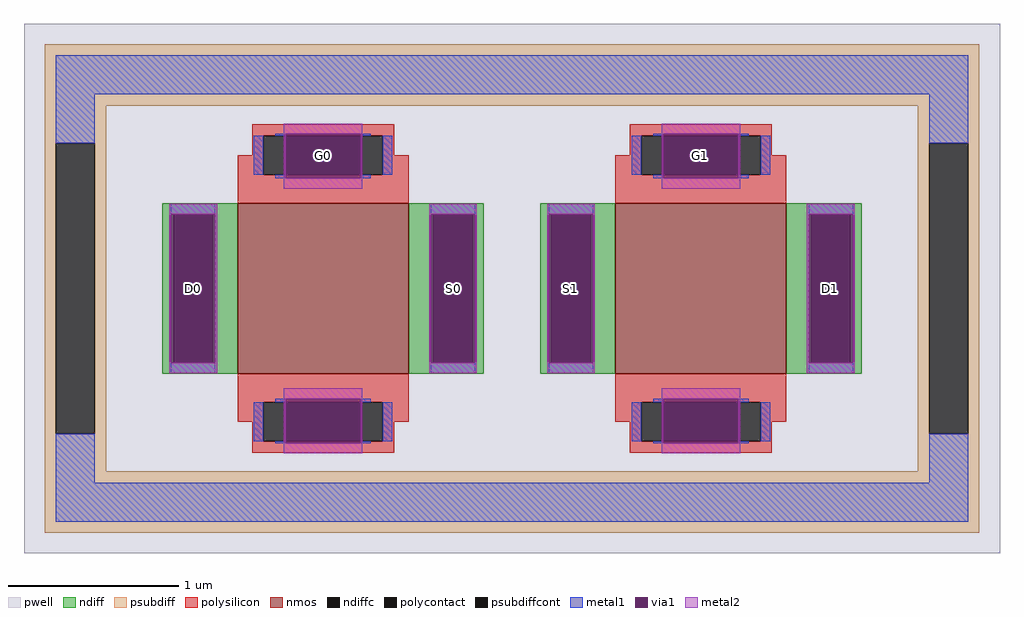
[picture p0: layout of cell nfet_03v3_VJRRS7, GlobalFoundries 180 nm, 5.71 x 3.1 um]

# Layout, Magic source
magic
tech gf180mcuD
magscale 1 10
<< pwell >>
rect -571 -310 571 310
<< nmos >>
rect -321 -100 -121 100
rect 121 -100 321 100
<< ndiff >>
rect -409 87 -321 100
rect -409 -87 -396 87
rect -350 -87 -321 87
rect -409 -100 -321 -87
rect -121 87 -33 100
rect -121 -87 -92 87
rect -46 -87 -33 87
rect -121 -100 -33 -87
rect 33 87 121 100
rect 33 -87 46 87
rect 92 -87 121 87
rect 33 -100 121 -87
rect 321 87 409 100
rect 321 -87 350 87
rect 396 -87 409 87
rect 321 -100 409 -87
<< ndiffc >>
rect -396 -87 -350 87
rect -92 -87 -46 87
rect 46 -87 92 87
rect 350 -87 396 87
<< psubdiff >>
rect -547 214 547 286
rect -547 170 -475 214
rect -547 -170 -534 170
rect -488 -170 -475 170
rect 475 170 547 214
rect -547 -214 -475 -170
rect 475 -170 488 170
rect 534 -170 547 170
rect 475 -214 547 -170
rect -547 -286 547 -214
<< psubdiffcont >>
rect -534 -170 -488 170
rect 488 -170 534 170
<< polysilicon >>
rect -304 179 -138 192
rect -304 156 -291 179
rect -321 133 -291 156
rect -151 156 -138 179
rect 138 179 304 192
rect 138 156 151 179
rect -151 133 -121 156
rect -321 100 -121 133
rect 121 133 151 156
rect 291 156 304 179
rect 291 133 321 156
rect 121 100 321 133
rect -321 -133 -121 -100
rect -321 -156 -291 -133
rect -304 -179 -291 -156
rect -151 -156 -121 -133
rect 121 -133 321 -100
rect 121 -156 151 -133
rect -151 -179 -138 -156
rect -304 -192 -138 -179
rect 138 -179 151 -156
rect 291 -156 321 -133
rect 291 -179 304 -156
rect 138 -192 304 -179
<< polycontact >>
rect -291 133 -151 179
rect 151 133 291 179
rect -291 -179 -151 -133
rect 151 -179 291 -133
<< metal1 >>
rect -534 227 534 273
rect -534 170 -488 227
rect -277 179 -265 181
rect -177 179 -165 181
rect 165 179 177 181
rect 265 179 277 181
rect -302 133 -291 179
rect -151 133 -140 179
rect 140 133 151 179
rect 291 133 302 179
rect 488 170 534 227
rect -277 129 -265 133
rect -177 129 -165 133
rect 165 129 177 133
rect 265 129 277 133
rect -399 87 -347 99
rect -399 -99 -347 -87
rect -95 87 -43 99
rect -95 -99 -43 -87
rect 43 87 95 99
rect 43 -99 95 -87
rect 347 87 399 99
rect 347 -99 399 -87
rect -277 -133 -265 -129
rect -177 -133 -165 -129
rect 165 -133 177 -129
rect 265 -133 277 -129
rect -534 -227 -488 -170
rect -302 -179 -291 -133
rect -151 -179 -140 -133
rect 140 -179 151 -133
rect 291 -179 302 -133
rect -277 -181 -265 -179
rect -177 -181 -165 -179
rect 165 -181 177 -179
rect 265 -181 277 -179
rect 488 -227 534 -170
rect -534 -273 534 -227
<< via1 >>
rect -265 179 -177 181
rect 177 179 265 181
rect -265 133 -177 179
rect 177 133 265 179
rect -265 129 -177 133
rect 177 129 265 133
rect -399 -87 -396 87
rect -396 -87 -350 87
rect -350 -87 -347 87
rect -95 -87 -92 87
rect -92 -87 -46 87
rect -46 -87 -43 87
rect 43 -87 46 87
rect 46 -87 92 87
rect 92 -87 95 87
rect 347 -87 350 87
rect 350 -87 396 87
rect 396 -87 399 87
rect -265 -133 -177 -129
rect 177 -133 265 -129
rect -265 -179 -177 -133
rect 177 -179 265 -133
rect -265 -181 -177 -179
rect 177 -181 265 -179
<< metal2 >>
rect -267 181 -175 193
rect -267 129 -265 181
rect -177 129 -175 181
rect -267 117 -175 129
rect 175 181 267 193
rect 175 129 177 181
rect 265 129 267 181
rect 175 117 267 129
rect -401 87 -345 99
rect -401 -87 -399 87
rect -347 -87 -345 87
rect -401 -99 -345 -87
rect -97 87 -41 99
rect -97 -87 -95 87
rect -43 -87 -41 87
rect -97 -99 -41 -87
rect 41 87 97 99
rect 41 -87 43 87
rect 95 -87 97 87
rect 41 -99 97 -87
rect 345 87 401 99
rect 345 -87 347 87
rect 399 -87 401 87
rect 345 -99 401 -87
rect -267 -129 -175 -117
rect -267 -181 -265 -129
rect -177 -181 -175 -129
rect -267 -193 -175 -181
rect 175 -129 267 -117
rect 175 -181 177 -129
rect 265 -181 267 -129
rect 175 -193 267 -181
<< labels >>
rlabel ndiffc -373 0 -373 0 0 D0
port 1 nsew
rlabel ndiffc -69 0 -69 0 0 S0
port 2 nsew
rlabel polycontact -221 156 -221 156 0 G0
port 3 nsew
rlabel ndiffc 373 0 373 0 0 D1
port 4 nsew
rlabel ndiffc 69 0 69 0 0 S1
port 5 nsew
rlabel polycontact 221 156 221 156 0 G1
port 6 nsew
<< properties >>
string FIXED_BBOX -511 -250 511 250
string gencell nfet_03v3
string library gf180mcu
string parameters w 1.0 l 1.0 m 1 nf 2 diffcov 100 polycov 80 guard 1 glc 1 grc 1 gtc 0 gbc 0 tbcov 100 rlcov 100 topc 1 botc 1 poverlap 0 doverlap 0 lmin 0.28 wmin 0.22 class mosfet full_metal 1 viasrc 100 viadrn 100 viagate 50 viagb 0 viagr 0 viagl 0 viagt 0 doports 1 compatible {nfet_03v3 nfet_05v0 nfet_06v0 nfet_06v0_nvt}
<< end >>
